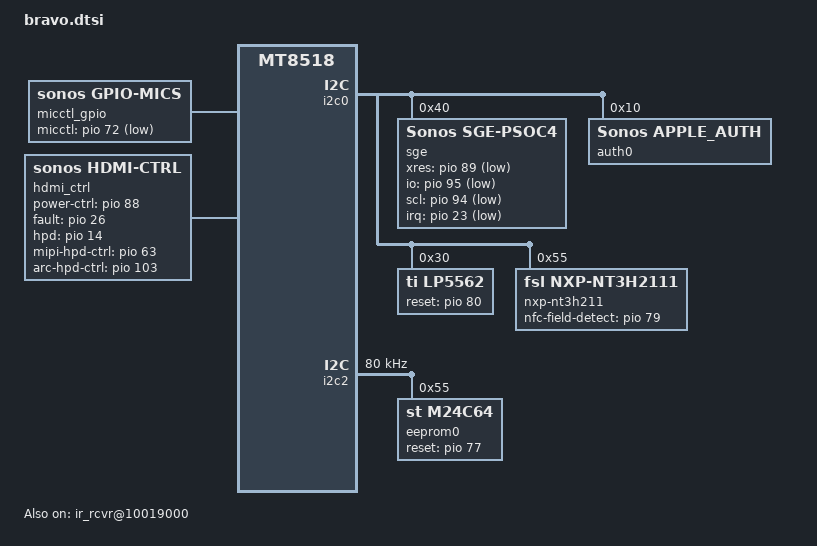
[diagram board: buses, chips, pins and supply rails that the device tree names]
/*
 * Copyright (c) 2020-2022, Sonos, Inc.
 *
 * SPDX-License-Identifier:     GPL-2.0
 */
/* Bravo HW versions
 *           bravo.dtsi       - Bravo Based dts
 */

#include "sonos_mt8518_common.dtsi"

/ {

	sonos-platform {
		misc-gpio {
			connect-button  = <&pio 106 GPIO_ACTIVE_LOW>;
		};

		simulated-buttons {
		/* event-sources are offsets from EVTSOURCE_BUTTON_PLAYPAUSE, some generate an event for more than one source */
			join {
				event-sources = <3>;
			};
		};

		thermal-mgmt {
			AMP {
				compatible = "tmp102";
				fault-temperature = <103>;
				warn-temperature = <98>;
			};
			CPU {
				compatible = "tmp102";
				fault-temperature = <95>;
				warn-temperature = <90>;
			};
			SOC {
				compatible = "mt8521p_soc";
				fault-temperature = <102>;
				warn-temperature = <100>;
			};
		};

		sonos-ampctl { /* Bravo has one amp fault.  It has three control lines.  */
			sonos-ampfaults {
				num-faults = <0x01>;
				status = "okay";

				ampfault@0 {
					fault-gpio = <&pio 58 0>;
					fault-flags = <IRQ_TYPE_EDGE_FALLING>;
					fault-label = "Amp fault";
				};
			};

		};
	};

	micctl_gpio:sonos-gpio-micctl {
		compatible = "sonos,gpio-mics";
		micctl-gpio = <&pio 72 GPIO_ACTIVE_LOW>;
		status = "okay";
	};

	micctl@1 {
		compatible = "sonos,micctl";
		micctl-device = <&micctl_gpio>;
		status = "okay";
	};

	hdmi_ctrl {
		compatible = "sonos,hdmi-ctrl";
		power-ctrl-gpio = <&pio 88 0>;
		fault-gpio = <&pio 26 0>;
		hpd-gpio = <&pio 14 0>;
		mipi-hpd-ctrl-gpio = <&pio 63 0>;
		arc-hpd-ctrl-gpio = <&pio 103 0>;
		songle-adc-device = <0>;
		songle-adc-channel = <1>;
		/* Nominal Songle voltage = 600 ADC units x 1500mV / 4095 ADC units = 220mV */
		songle-adc-high = <840>;  /* 308mV */
		songle-adc-low = <360>;   /* 132mV */
		status = "okay";
	};

	ir_rcvr@10019000 {
		compatible = "sonos,mt8518-ir-rcvr";
		reg = <0 0x10019000 0 0x1000>;
		interrupts = <GIC_SPI 139 IRQ_TYPE_LEVEL_LOW>;
		pinctrl-names = "default";
		pinctrl-0 = <&irrx_pins_ir_input>;
		clocks = <&topckgen CLK_TOP_INT_32K_SEL>;
		clock-names = "irrx_clock";
		status = "okay";
	};
};

&i2c0 {
	sge@0 {  // Sigdetail Gesture Engine
		compatible = "Sonos,sge-psoc4";
		pinctrl-names = "mode-flow-ctrl", "mode-uart-hiz";
		pinctrl-0 = <&uart1_pins_flowctrl>;
		pinctrl-1 = <&uart1_pins_hiz>;
		reg = <0x40>;
		gpio-addr =  <0x10005000 0x1000 0x150 0 0x250 0x150 0 0x250>;
		gpio-params = "base-addr", "len", "io-set", "io-clr", "io-din", "scl-set", "scl-clr", "scl-din";
		scl-bitmask =  <0x004000>;
		io-bitmask  =  <0x008000>;
		xres-gpio = <&pio 89 1>;
		io-gpio   = <&pio 95 1>;
		scl-gpio  = <&pio 94 1>;
		irq-gpio  = <&pio 23 1>;
		zonea = "vol1";
		zoneb = "pp";
		zonec = "vol2";
		zonem = "mic";
		finger-threshold = <33>;
		noise-threshold = <12>;
		hysteresis = <4>;
		share-swd-uart = <0>;
		eco-trim-cap = <0x5f4d>;
		status = "okay";

		psoc-images {
			image@0 {
				model-num = <4248>;
				ident = <0xba>;
				flash-rows = <1024>;
				flash-row-size = <256>;
				flash-protection-size = <128>;
			};
		};
	};

	auth0: apple_auth@10 {	// Apple authentication chip, v3.0
		compatible = "Sonos,apple_auth";
		reg = <0x10>;
		status = "okay";
	};

	lp5562@0 {	// LED controller
		compatible = "ti,lp5562";
		reg = <0x30>;
		reset-gpio = <&pio 80 0>;
	};

	nxp-nt3h211@55 {       // NXP 3H2111 NFC
		compatible = "fsl,nxp-nt3h2111";
		nfc-field-detect = <&pio 79 0>;
		reg = <0x55>;
		nfc-adc-port = <12>;
		status = "okay";
	};
};

&i2c2 {
	clock-frequency=<80000>;	// Reduce DDC speed for more reliable EDID reads
	eeprom0: m24c64@55 {
		compatible = "st,m24c64";
		reg = <0x55>;
		dev-id = <0x2>;
		chip-size = <0x10000>;
		page-size = <0x20>;
		addr-len = <0x2>;
		reset-gpio = <&pio 77 0>;
		status = "okay";
	};
};

&pio {
	uart1_pins_hiz: mode_hiz {
		pins_dat {
			pinmux = <MT8518_PIN_92_SPI2_CS__FUNC_GPIO92>,
				 <MT8518_PIN_93_SPI2_CK__FUNC_GPIO93>,
				 <MT8518_PIN_94_SPI2_MI0__FUNC_GPIO94>,
				 <MT8518_PIN_95_SPI2_MI1__FUNC_GPIO95>;
			bias-disable;
		};
	};

	uart1_pins_flowctrl: mode_flowctrl {
		pins_dat {
			pinmux = <MT8518_PIN_92_SPI2_CS__FUNC_URXD1>,
				 <MT8518_PIN_93_SPI2_CK__FUNC_UTXD1>,
				 <MT8518_PIN_94_SPI2_MI0__FUNC_URTS1>,
				 <MT8518_PIN_95_SPI2_MI1__FUNC_UCTS1>;
			bias-disable;
		};
	};
};
